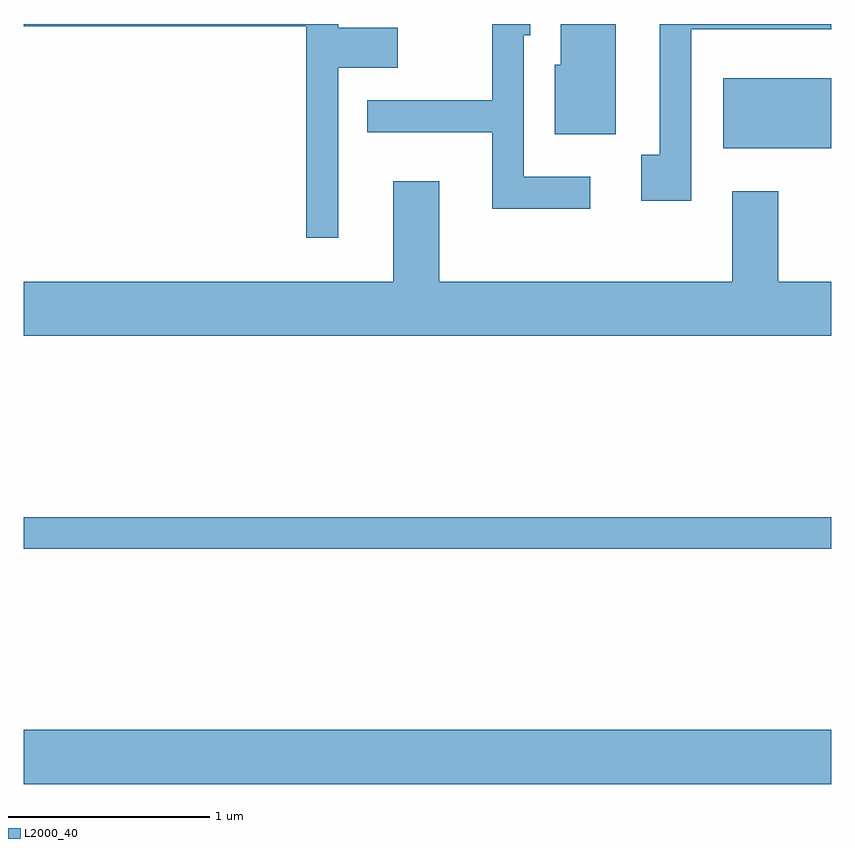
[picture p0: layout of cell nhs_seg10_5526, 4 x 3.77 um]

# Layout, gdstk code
import gdstk
lib = gdstk.Library(unit=1e-6, precision=1e-09)
def R(c, l, rs):  # rectangles x0, y0, x1, y1
    for r in rs: c.add(gdstk.rectangle(r[:2], r[2:], *l))
def P(c, l, *ps):  # polygons
    for p in ps: c.add(gdstk.Polygon(p, *l))
L2000_40 = (2000, 40)

nhs_seg10_5526 = lib.new_cell('nhs_seg10_5526')
R(nhs_seg10_5526, L2000_40, [(347.611,2162.756,351.611,2163.024), (347.611,2163.921,351.611,2164.079), (351.076,2165.906,351.611,2166.254)])
P(nhs_seg10_5526, L2000_40, [(349.169,2166.306),(349.464,2166.306),(349.464,2166.504),(349.169,2166.504),(349.169,2166.522),(347.611,2166.522),(347.611,2166.511),(349.011,2166.511),(349.011,2165.463),(349.169,2165.463)],
  [(350.919,2166.496),(351.611,2166.496),(351.611,2166.522),(350.761,2166.522),(350.761,2165.874),(350.671,2165.874),(350.671,2165.646),(350.919,2165.646)],
  [(350.418,2165.764),(350.089,2165.764),(350.089,2166.466),(350.119,2166.466),(350.119,2166.522),(349.931,2166.522),(349.931,2166.144),(349.313,2166.144),(349.313,2165.986),(349.931,2165.986),(349.931,2165.606),(350.418,2165.606)],
  [(350.544,2166.522),(350.271,2166.522),(350.271,2166.319),(350.241,2166.319),(350.241,2165.976),(350.544,2165.976)],
  [(351.611,2165.244),(351.349,2165.244),(351.349,2165.694),(351.121,2165.694),(351.121,2165.244),(349.669,2165.244),(349.669,2165.744),(349.441,2165.744),(349.441,2165.244),(347.611,2165.244),(347.611,2164.976),(351.611,2164.976)])

lib.write_gds('nhs_seg10_5526.gds')
